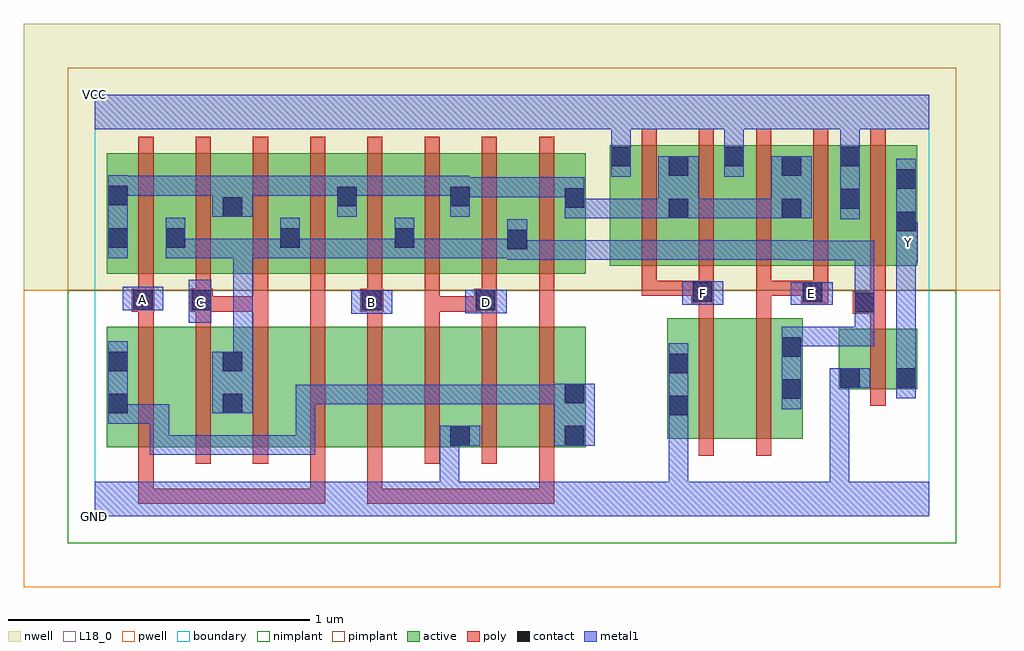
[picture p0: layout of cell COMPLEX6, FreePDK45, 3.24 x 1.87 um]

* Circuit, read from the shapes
.subckt COMPLEX6 A B C D E F GND VCC Y
M1 n1 A n2 VSUBS nfet w=0.4u l=0.05u
M2 n3 C n1 VSUBS nfet w=0.4u l=0.05u
M3 n4 C n3 VSUBS nfet w=0.4u l=0.05u
M4 n5 A n4 VSUBS nfet w=0.4u l=0.05u
M5 n6 B n5 VSUBS nfet w=0.4u l=0.05u
M6 GND D n6 VSUBS nfet w=0.4u l=0.05u
M7 n7 D GND VSUBS nfet w=0.4u l=0.05u
M8 n2 B n7 VSUBS nfet w=0.4u l=0.05u
M9 n8 F GND VSUBS nfet w=0.4u l=0.05u
M10 n3 E n8 VSUBS nfet w=0.4u l=0.05u
M11 Y n3 GND VSUBS nfet w=0.2u l=0.05u
M12 n3 A n9 n10 pfet w=0.4u l=0.05u m=2
M13 n9 C n3 n10 pfet w=0.4u l=0.05u m=2
M14 n3 B n9 n10 pfet w=0.4u l=0.05u m=2
M15 n9 D n3 n10 pfet w=0.4u l=0.05u m=2
M16 n9 F VCC n10 pfet w=0.4u l=0.05u m=2
M17 n9 E VCC n10 pfet w=0.4u l=0.05u m=2
M18 Y n3 VCC n10 pfet w=0.4u l=0.05u
.ends

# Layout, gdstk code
import gdstk
lib = gdstk.Library(unit=1e-6, precision=1e-09)
def R(c, l, rs):  # rectangles x0, y0, x1, y1
    for r in rs: c.add(gdstk.rectangle(r[:2], r[2:], *l))
def A(c, l, x, y, w, h, nx, ny, dx, dy):  # array of equal rectangles
    R(c, l, [(x+i*dx, y+j*dy, x+i*dx+w, y+j*dy+h) for i in range(nx) for j in range(ny)])
active = (1, 0)
pwell = (2, 0)
nwell = (3, 0)
nimplant = (4, 0)
pimplant = (5, 0)
poly = (9, 0)
contact = (10, 0)
metal1 = (11, 0)
L18_0 = (18, 0)
boundary = (235, 0)

complex6 = lib.new_cell('COMPLEX6')
A(complex6, active, 0.04, 0.805, 0.265, 0.4, 5, 1, 0.19, 0)
A(complex6, active, 0.23, 0.805, 0.075, 0.265, 3, 1, 0.38, 0)
R(complex6, active, [(0.04,0.23,0.265,0.63), (0.265,0.23,0.495,0.63), (0.42,0.23,0.645,0.63), (0.645,0.23,0.835,0.63), (0.835,0.23,1.025,0.63), (1.025,0.23,1.25,0.63), (1.175,0.23,1.405,0.63), (1.175,0.23,1.25,0.617), (1.405,0.23,1.63,0.63), (1.555,0.23,1.63,0.63), (1.9,0.257,2.125,0.657), (1.9,0.257,1.975,0.657), (2.125,0.257,2.35,0.657), (2.275,0.26,2.35,0.657), (0.04,0.295,0.115,0.63), (0.42,0.295,0.495,0.63), (2.47,0.422,2.73,0.622), (2.47,0.422,2.545,0.502), (2.655,0.422,2.73,0.622), (0.04,0.805,0.115,1.2), (0.99,0.805,1.25,1.205), (1.175,0.805,1.44,1.205), (1.365,0.805,1.63,1.205), (1.365,0.805,1.44,1.07), (1.555,0.805,1.63,1.2), (1.71,0.832,1.785,1.232), (1.71,0.832,1.975,1.232), (1.9,0.832,1.975,1.2), (1.9,0.832,2.16,1.232), (2.085,0.832,2.35,1.232), (2.275,0.832,2.35,1.2), (2.275,0.832,2.545,1.232), (2.47,0.832,2.545,1.232), (2.47,0.832,2.73,1.232), (2.655,0.832,2.73,1.2), (0.8,0.847,0.875,1.2), (0.42,0.907,0.495,1.2), (1.175,0.907,1.25,1.2), (2.085,0.907,2.16,1.232)])
R(complex6, pwell, [(-0.235,-0.235,3.005,0.75)])
R(complex6, nwell, [(-0.235,0.75,3.005,1.635)])
R(complex6, nimplant, [(-0.09,-0.09,2.86,0.75)])
R(complex6, pimplant, [(-0.09,0.75,2.86,1.49)])
A(complex6, poly, 0.145, 0.175, 0.05, 0.51, 8, 2, 0.19, 0.575)
A(complex6, poly, 0.145, 0.635, 0.05, 0.095, 7, 1, 0.19, 0)
A(complex6, poly, 1.815, 0.732, 0.05, 0.095, 4, 1, 0.19, 0)
A(complex6, poly, 1.815, 0.777, 0.05, 0.51, 5, 1, 0.19, 0)
R(complex6, poly, [(0.145,0.042,0.195,0.092), (0.145,0.042,0.195,0.092), (0.145,0.042,0.195,0.092), (0.145,0.042,0.195,0.225), (0.145,0.042,0.327,0.092), (0.277,0.042,0.327,0.092), (0.277,0.042,0.632,0.092), (0.582,0.042,0.632,0.092), (0.582,0.042,0.632,0.092), (0.582,0.042,0.632,0.092), (0.582,0.042,0.765,0.092), (0.715,0.042,0.765,0.092), (0.715,0.042,0.765,0.092), (0.715,0.042,0.765,0.092), (0.715,0.042,0.765,0.225), (0.905,0.042,0.955,0.092), (0.905,0.042,0.955,0.092), (0.905,0.042,0.955,0.092), (0.905,0.042,0.955,0.225), (0.905,0.042,1.145,0.092), (1.095,0.042,1.145,0.092), (1.095,0.042,1.392,0.092), (1.342,0.042,1.392,0.092), (1.342,0.042,1.392,0.092), (1.342,0.042,1.392,0.092), (1.342,0.042,1.525,0.092), (1.475,0.042,1.525,0.092), (1.475,0.042,1.525,0.092), (1.475,0.042,1.525,0.092), (1.475,0.042,1.525,0.225), (2.005,0.202,2.055,0.712), (2.195,0.202,2.245,0.712), (2.575,0.367,2.625,0.677), (2.575,0.627,2.625,0.722), (1.475,0.635,1.525,0.755), (2.005,0.662,2.055,0.757), (2.195,0.662,2.245,0.782), (2.517,0.672,2.625,0.747), (0.122,0.68,0.197,0.755), (0.317,0.68,0.392,0.755), (0.342,0.68,0.392,0.73), (0.342,0.68,0.392,0.73), (0.342,0.68,0.575,0.73), (0.525,0.68,0.575,0.73), (0.525,0.68,0.575,0.8), (0.715,0.68,0.765,0.73), (0.715,0.68,0.765,0.8), (0.882,0.68,0.957,0.755), (1.095,0.68,1.145,0.73), (1.095,0.68,1.145,0.73), (1.095,0.68,1.145,0.73), (1.095,0.68,1.145,0.8), (1.095,0.68,1.31,0.73), (1.26,0.68,1.335,0.755), (2.575,0.697,2.625,0.827), (0.145,0.705,0.195,0.8), (0.335,0.705,0.385,0.8), (0.905,0.705,0.955,0.8), (1.285,0.705,1.335,0.8), (1.475,0.705,1.525,0.8), (1.475,0.705,1.525,0.755), (1.98,0.707,2.055,0.782), (2.345,0.707,2.435,0.782), (1.815,0.732,1.865,0.782), (1.815,0.732,1.865,0.782), (1.815,0.732,1.865,0.782), (1.815,0.732,2.03,0.782), (2.195,0.732,2.395,0.782), (2.195,0.732,2.245,0.782), (2.195,0.732,2.245,0.782), (2.195,0.732,2.245,0.782)])
A(complex6, contact, 0.235, 0.892, 0.065, 0.065, 3, 1, 0.38, 0)
R(complex6, contact, [(1.18,0.235,1.245,0.3), (1.56,0.235,1.625,0.3), (1.905,0.335,1.97,0.4), (0.045,0.342,0.11,0.407), (0.425,0.342,0.49,0.407), (1.56,0.375,1.625,0.44), (2.28,0.39,2.345,0.455), (2.475,0.427,2.54,0.492), (2.66,0.427,2.725,0.492), (1.905,0.475,1.97,0.54), (0.045,0.482,0.11,0.547), (0.425,0.482,0.49,0.547), (2.28,0.53,2.345,0.595), (2.522,0.677,2.587,0.742), (0.127,0.685,0.192,0.75), (0.322,0.685,0.387,0.75), (0.887,0.685,0.952,0.75), (1.265,0.685,1.33,0.75), (1.985,0.712,2.05,0.777), (2.35,0.712,2.415,0.777), (1.37,0.887,1.435,0.952), (0.045,0.892,0.11,0.957), (2.66,0.947,2.725,1.012), (1.905,0.99,1.97,1.055), (2.28,0.99,2.345,1.055), (0.425,0.995,0.49,1.06), (2.475,1.022,2.54,1.087), (1.56,1.025,1.625,1.09), (0.805,1.03,0.87,1.095), (1.18,1.03,1.245,1.095), (0.045,1.032,0.11,1.097), (2.66,1.087,2.725,1.152), (1.905,1.13,1.97,1.195), (2.28,1.13,2.345,1.195), (1.715,1.162,1.78,1.227), (2.09,1.162,2.155,1.227), (2.475,1.162,2.54,1.227)])
A(complex6, metal1, 0.235, 0.857, 0.065, 0.135, 3, 1, 0.38, 0)
R(complex6, metal1, [(0,0,2.77,0.115), (1.145,0.05,1.21,0.115), (1.145,0.05,1.21,0.115), (1.145,0.05,1.21,0.3), (1.905,0.05,1.97,0.365), (2.44,0.05,2.505,0.115), (2.44,0.05,2.505,0.115), (2.44,0.05,2.505,0.115), (2.44,0.05,2.505,0.115), (2.44,0.05,2.505,0.115), (2.44,0.05,2.505,0.115), (2.44,0.05,2.505,0.492), (0.182,0.205,0.247,0.27), (0.182,0.205,0.247,0.27), (0.182,0.205,0.247,0.27), (0.182,0.205,0.542,0.27), (0.182,0.205,0.247,0.372), (0.477,0.205,0.542,0.27), (0.477,0.205,0.542,0.27), (0.477,0.205,0.542,0.27), (0.477,0.205,0.732,0.27), (0.667,0.205,0.732,0.27), (0.667,0.205,0.732,0.437), (1.145,0.235,1.28,0.3), (1.525,0.235,1.66,0.44), (1.905,0.3,1.97,0.365), (1.905,0.3,1.97,0.365), (1.905,0.3,1.97,0.575), (0.045,0.307,0.11,0.372), (0.045,0.307,0.11,0.372), (0.045,0.307,0.11,0.582), (0.045,0.307,0.247,0.372), (0.182,0.307,0.247,0.372), (0.39,0.342,0.525,0.547), (2.28,0.355,2.345,0.63), (0.667,0.372,0.732,0.437), (0.667,0.372,0.732,0.437), (0.667,0.372,0.732,0.437), (0.667,0.372,0.87,0.437), (0.805,0.372,0.87,0.437), (0.805,0.372,0.87,0.437), (0.805,0.372,0.87,0.437), (0.805,0.372,1.007,0.437), (0.942,0.372,1.007,0.437), (0.942,0.372,1.007,0.437), (0.942,0.372,1.007,0.437), (0.942,0.372,1.245,0.437), (1.18,0.372,1.245,0.437), (1.18,0.372,1.245,0.437), (1.18,0.372,1.245,0.437), (1.18,0.372,1.417,0.437), (1.352,0.372,1.417,0.437), (1.352,0.372,1.417,0.437), (1.352,0.372,1.417,0.437), (1.352,0.372,1.59,0.437), (2.66,0.392,2.725,0.527), (2.44,0.427,2.575,0.492), (2.66,0.462,2.725,0.907), (0.46,0.482,0.525,0.547), (0.46,0.482,0.525,0.547), (0.46,0.482,0.525,0.922), (2.28,0.565,2.345,0.63), (2.28,0.565,2.345,0.63), (2.28,0.565,2.587,0.63), (2.522,0.565,2.587,0.707), (0.312,0.642,0.387,0.785), (2.522,0.642,2.587,0.707), (2.522,0.642,2.587,0.707), (2.522,0.642,2.587,0.707), (2.522,0.642,2.587,0.777), (2.522,0.642,2.587,0.915), (0.852,0.672,0.987,0.75), (1.23,0.675,1.367,0.752), (0.092,0.685,0.227,0.762), (1.95,0.702,2.087,0.78), (2.31,0.702,2.45,0.777), (2.66,0.842,2.732,0.977), (2.302,0.85,2.587,0.915), (2.302,0.85,2.367,0.917), (2.522,0.85,2.587,0.915), (1.37,0.852,1.435,0.917), (1.37,0.852,1.435,0.917), (1.37,0.852,1.435,0.987), (1.37,0.852,1.572,0.917), (1.507,0.852,1.572,0.917), (1.507,0.852,1.572,0.917), (1.507,0.852,1.572,0.917), (1.507,0.852,1.797,0.917), (1.732,0.852,1.797,0.917), (1.732,0.852,1.797,0.917), (1.732,0.852,1.797,0.917), (1.732,0.852,1.935,0.917), (1.87,0.852,1.935,0.917), (1.87,0.852,2.142,0.917), (2.077,0.852,2.142,0.917), (2.077,0.852,2.142,0.917), (2.077,0.852,2.142,0.917), (2.077,0.852,2.367,0.917), (2.302,0.852,2.367,0.917), (2.302,0.852,2.367,0.917), (0.045,0.857,0.11,1.132), (0.235,0.857,0.3,0.922), (0.235,0.857,0.3,0.922), (0.235,0.857,0.525,0.922), (0.46,0.857,0.525,0.922), (0.46,0.857,0.525,0.922), (0.46,0.857,0.525,0.922), (0.46,0.857,0.68,0.922), (0.615,0.857,0.68,0.922), (0.615,0.857,0.68,0.922), (0.615,0.857,0.87,0.922), (0.805,0.857,0.87,0.922), (0.805,0.857,0.87,0.922), (0.805,0.857,0.87,0.922), (0.805,0.857,1.06,0.922), (0.995,0.857,1.06,0.922), (0.995,0.857,1.06,0.922), (0.995,0.857,1.245,0.922), (1.18,0.857,1.245,0.922), (1.18,0.857,1.245,0.922), (1.18,0.857,1.245,0.922), (1.18,0.857,1.435,0.922), (2.66,0.912,2.725,0.977), (2.66,0.912,2.725,1.187), (2.475,0.987,2.54,1.262), (1.56,0.99,1.625,1.055), (1.56,0.99,1.625,1.055), (1.56,0.99,1.625,1.125), (1.56,0.99,1.797,1.055), (1.732,0.99,1.797,1.055), (1.732,0.99,1.935,1.055), (1.87,0.99,2.005,1.195), (1.94,0.99,2.005,1.055), (1.94,0.99,2.005,1.055), (1.94,0.99,2.142,1.055), (2.077,0.99,2.142,1.055), (2.077,0.99,2.142,1.055), (2.077,0.99,2.142,1.055), (2.077,0.99,2.31,1.055), (2.245,0.99,2.38,1.195), (0.39,0.995,0.525,1.13), (0.805,0.995,0.87,1.13), (1.18,0.995,1.245,1.13), (1.18,1.06,1.245,1.125), (1.18,1.06,1.245,1.125), (1.18,1.06,1.382,1.125), (1.317,1.06,1.382,1.125), (1.317,1.06,1.382,1.125), (1.317,1.06,1.382,1.125), (1.317,1.06,1.625,1.125), (0.045,1.065,0.11,1.13), (0.045,1.065,0.11,1.13), (0.045,1.065,0.317,1.13), (0.252,1.065,0.317,1.13), (0.252,1.065,0.317,1.13), (0.252,1.065,0.317,1.13), (0.252,1.065,0.455,1.13), (0.46,1.065,0.525,1.13), (0.46,1.065,0.525,1.13), (0.46,1.065,0.732,1.13), (0.667,1.065,0.732,1.13), (0.667,1.065,0.732,1.13), (0.667,1.065,0.732,1.13), (0.667,1.065,0.87,1.13), (0.805,1.065,0.87,1.13), (0.805,1.065,0.87,1.13), (0.805,1.065,1.007,1.13), (0.942,1.065,1.007,1.13), (0.942,1.065,1.007,1.13), (0.942,1.065,1.007,1.13), (0.942,1.065,1.245,1.13), (1.715,1.127,1.78,1.262), (2.09,1.127,2.155,1.262), (1.715,1.197,1.78,1.35), (2.09,1.197,2.155,1.35), (2.475,1.197,2.54,1.35), (0,1.285,2.77,1.4)])
R(complex6, L18_0, [(0,0,2.77,0.115), (1.145,0.05,1.21,0.115), (1.145,0.05,1.21,0.115), (1.145,0.05,1.21,0.3), (1.905,0.05,1.97,0.365), (2.44,0.05,2.505,0.115), (2.44,0.05,2.505,0.115), (2.44,0.05,2.505,0.115), (2.44,0.05,2.505,0.115), (2.44,0.05,2.505,0.115), (2.44,0.05,2.505,0.115), (2.44,0.05,2.505,0.492), (1.145,0.235,1.28,0.3), (1.905,0.3,1.97,0.365), (1.905,0.3,1.97,0.365), (1.905,0.3,1.97,0.575), (2.66,0.392,2.725,0.527), (2.44,0.427,2.575,0.492), (2.66,0.462,2.725,0.907), (0.312,0.642,0.387,0.785), (0.852,0.672,0.987,0.75), (1.23,0.675,1.367,0.752), (0.317,0.677,0.382,0.742), (0.887,0.677,0.952,0.742), (1.267,0.677,1.332,0.742), (0.092,0.685,0.227,0.762), (0.127,0.687,0.192,0.752), (1.95,0.702,2.087,0.78), (2.31,0.702,2.45,0.777), (1.987,0.707,2.052,0.772), (2.347,0.707,2.412,0.772), (2.66,0.842,2.732,0.977), (2.667,0.877,2.732,0.942), (2.66,0.912,2.725,0.977), (2.66,0.912,2.725,1.187), (2.475,0.987,2.54,1.262), (1.715,1.127,1.78,1.262), (2.09,1.127,2.155,1.262), (1.715,1.197,1.78,1.35), (2.09,1.197,2.155,1.35), (2.475,1.197,2.54,1.35), (0,1.285,2.77,1.4)])
R(complex6, boundary, [(0,0,2.77,1.4)])
complex6.add(gdstk.Label('A', (0.16,0.72), layer=11, texttype=0))
complex6.add(gdstk.Label('B', (0.92,0.71), layer=11, texttype=0))
complex6.add(gdstk.Label('C', (0.35,0.71), layer=11, texttype=0))
complex6.add(gdstk.Label('D', (1.3,0.71), layer=11, texttype=0))
complex6.add(gdstk.Label('E', (2.38,0.74), layer=11, texttype=0))
complex6.add(gdstk.Label('F', (2.02,0.74), layer=11, texttype=0))
complex6.add(gdstk.Label('Y', (2.7,0.91), layer=11, texttype=0))
complex6.add(gdstk.Label('VCC', (0,1.4), layer=11, texttype=0))
complex6.add(gdstk.Label('GND', (0,0), layer=11, texttype=0))

lib.write_gds('COMPLEX6.gds')
